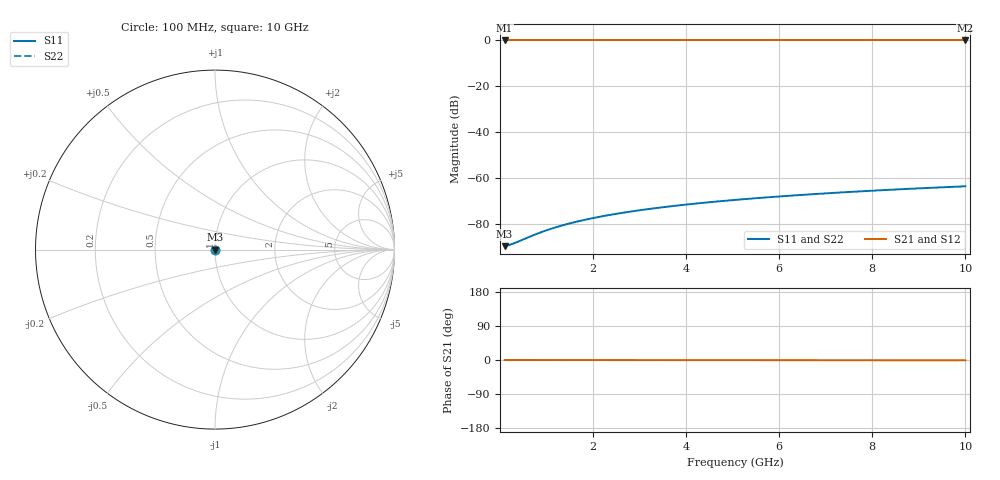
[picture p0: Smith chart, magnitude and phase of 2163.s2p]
# Hz S RI R 50.00
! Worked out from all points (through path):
!   100 points, 100 MHz to 10 GHz, reference 50 ohm
!   highest |S21| = 0.00 dB at 100 MHz (marker M1); lowest = 0.0 dB at 10 GHz (marker M2)
!   lowest |S11| = -89.8 dB at 100 MHz (marker M3), VSWR 1.00, Z = 50 - j0.000644 ohm
!   |S11| at or under -10 dB: start of sweep to end of sweep
!   |S22| runs from -89.8 to -63.6 dB; largest |S21 - S12| = 0
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1e8  3.19e-05 -6.44e-06  1 -0.000133  1 -0.000133  3.19e-05 -6.44e-06
1.4e9  3.22e-05 -9.04e-05  1 -0.00187  1 -0.00187  3.22e-05 -9.04e-05
1.5e9  3.21e-05 -9.69e-05  1 -0.002  1 -0.002  3.21e-05 -9.69e-05
1.6e9  3.21e-05 -0.000103  1 -0.00213  1 -0.00213  3.21e-05 -0.000103
1.8e9  3.2e-05 -0.000116  1 -0.0024  1 -0.0024  3.2e-05 -0.000116
2.1e9  3.19e-05 -0.000136  1 -0.0028  1 -0.0028  3.19e-05 -0.000136
2.3e9  3.18e-05 -0.000149  1 -0.00307  1 -0.00307  3.18e-05 -0.000149
2.5e9  3.17e-05 -0.000162  1 -0.00334  1 -0.00334  3.17e-05 -0.000162
2.9e9  3.14e-05 -0.000188  1 -0.00387  1 -0.00387  3.14e-05 -0.000188
3.1e9  3.13e-05 -0.000202  1 -0.00414  1 -0.00414  3.13e-05 -0.000202
3.4e9  3.1e-05 -0.000221  1 -0.00454  1 -0.00454  3.1e-05 -0.000221
3.8e9  3.07e-05 -0.000248  0.9999 -0.00508  0.9999 -0.00508  3.07e-05 -0.000248
4.2e9  3.03e-05 -0.000274  0.9999 -0.00561  0.9999 -0.00561  3.03e-05 -0.000274
4.6e9  2.99e-05 -0.000301  0.9999 -0.00615  0.9999 -0.00615  2.99e-05 -0.000301
5.1e9  2.93e-05 -0.000334  0.9999 -0.00682  0.9999 -0.00682  2.93e-05 -0.000334
5.5e9  2.89e-05 -0.000361  0.9999 -0.00736  0.9999 -0.00736  2.89e-05 -0.000361
5.9e9  2.84e-05 -0.000387  0.9999 -0.0079  0.9999 -0.0079  2.84e-05 -0.000387
6.7e9  2.73e-05 -0.000441  0.9999 -0.00897  0.9999 -0.00897  2.73e-05 -0.000441
7.5e9  2.61e-05 -0.000494  0.9999 -0.0101  0.9999 -0.0101  2.61e-05 -0.000494
8.4e9  2.46e-05 -0.000553  0.9999 -0.0113  0.9999 -0.0113  2.46e-05 -0.000553
9.2e9  2.31e-05 -0.000606  0.9999 -0.0124  0.9999 -0.0124  2.31e-05 -0.000606
1e10  2.16e-05 -0.000658  0.9999 -0.0134  0.9999 -0.0134  2.16e-05 -0.000658
